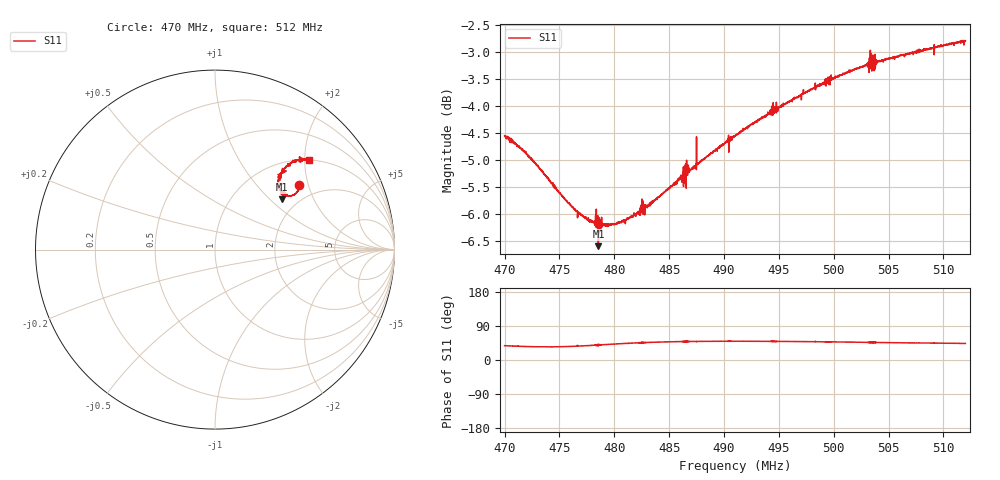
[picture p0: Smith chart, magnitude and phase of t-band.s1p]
! Calibrated averaged scanner-service zoom
# Hz S RI R 50
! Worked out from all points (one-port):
!   4001 points, 470 MHz to 512 MHz, reference 50 ohm
!   lowest |S11| = -6.6 dB at 478.5 MHz (marker M1), VSWR 2.76, Z = 83 + j59.7 ohm
!   |S11| at or under -10 dB: nowhere
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4.7e8  0.4684 0.3626
4.715015e8  0.4662 0.3393
4.72478e8  0.4609 0.3244
4.737695e8  0.4463 0.3095
4.7525e8  0.426 0.2999
4.761845e8  0.4113 0.2994
4.77014e8  0.3985 0.3014
4.77854e8  0.3872 0.3058
4.78547e8  0.3741 0.2811
4.78757e8  0.3771 0.3165
4.79597e8  0.3678 0.324
4.805e8  0.3606 0.3361
4.82159e8  0.3516 0.3587
4.8281e8  0.3516 0.3629
4.842485e8  0.3542 0.3839
4.8575e8  0.3574 0.4033
4.87703e8  0.3656 0.4224
4.89299e8  0.3748 0.4363
4.91e8  0.3849 0.4495
4.94171e8  0.4062 0.4685
4.9625e8  0.4218 0.4814
4.985285e8  0.4403 0.4906
5.015e8  0.4622 0.499
5.0318e8  0.4818 0.4989
5.036105e8  0.4759 0.5069
5.039675e8  0.4806 0.5016
5.0675e8  0.4973 0.5009
5.12e8  0.5247 0.5013
